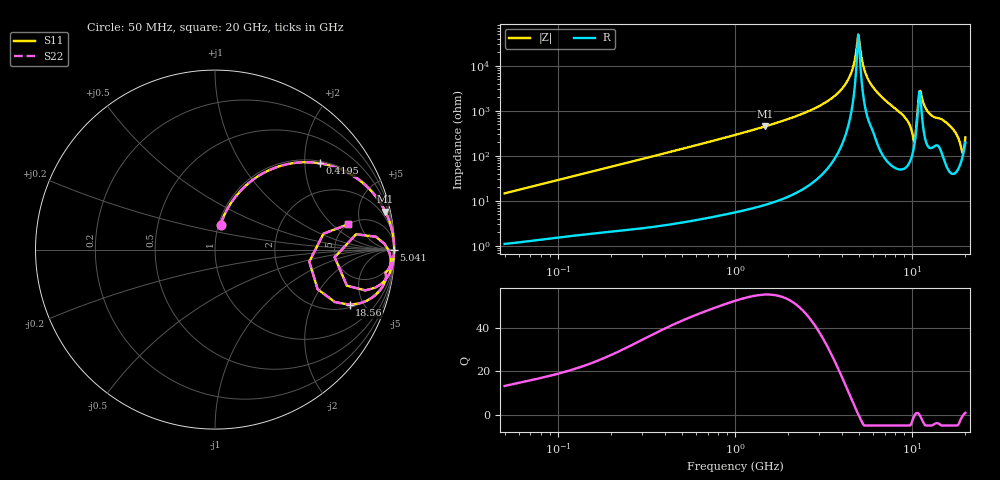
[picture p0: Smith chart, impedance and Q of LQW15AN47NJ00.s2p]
!Murata Part Number: LQW15AN47NJ00
!These Parameters are Measured in Series Mode Connection
!  o--[Z]--o
!Port1  Port2
!  o-------o
!Freq. Start=50[MHz] Stop=20[GHz], 401[Steps]
# Hz S RI R 50
!Freq.(Hz) S11(Real) S11(Imag) S21(Real) S21(Imag) S12(Real) S12(Imag) S22(Real) S22(Imag)
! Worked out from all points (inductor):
!   401 points, 50 MHz to 20 GHz, reference 50 ohm
!   read as one part in series: L = 46.2 nH near 51.52 MHz
!   highest Q = 55.5 at 1.476 GHz (marker M1), where L = 48.3 nH
!   self-resonance near 4.967 GHz
!   S11 on the Smith chart (normalised r, x): 50 MHz: 1.02, +0.29; 419.5 MHz: 1.06, +2.37; 5.041 GHz: open; 18.56 GHz: 2.19, -3.92; 20 GHz: 4.96, +3.26
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5e7  0.031 0.1397  0.969 -0.1397  0.969 -0.1397  0.031 0.1397
1.364002e8  0.1429 0.3282  0.8571 -0.3282  0.8571 -0.3282  0.1429 0.3282
3.721004e8  0.5251 0.4865  0.4749 -0.4865  0.4749 -0.4865  0.5251 0.4865
4.194704e8  0.583 0.4809  0.417 -0.4809  0.417 -0.4809  0.583 0.4809
1e9  0.8892 0.3045  0.1108 -0.3045  0.1108 -0.3045  0.8892 0.3045
1.476162e9  0.9491 0.2109  0.0509 -0.2109  0.0509 -0.2109  0.9491 0.2109
2.728004e9  0.9892 0.0926  0.0108 -0.0926  0.0108 -0.0926  0.9892 0.0926
4.087748e9  0.9973 0.0296  0.00274 -0.0296  0.00274 -0.0296  0.9973 0.0296
4.472136e9  0.9979 0.0162  0.00214 -0.0162  0.00214 -0.0162  0.9979 0.0162
4.89267e9  0.998 0.00259  0.00197 -0.00259  0.00197 -0.00259  0.998 0.00259
5.041459e9  0.998 -0.00199  0.00202 0.00199  0.00202 0.00199  0.998 -0.00199
5.352748e9  0.9977 -0.0113  0.00233 0.0113  0.00233 0.0113  0.9977 -0.0113
5.683258e9  0.9969 -0.0208  0.00307 0.0208  0.00307 0.0208  0.9969 -0.0208
7.442007e9  0.9919 -0.0691  0.00805 0.0691  0.00805 0.0691  0.9919 -0.0691
9.457416e9  0.9556 -0.16  0.0444 0.16  0.0444 0.16  0.9556 -0.16
1.019291e10  0.7347 -0.201  0.2653 0.201  0.2653 0.201  0.7347 -0.201
1.098561e10  0.964 0.00117  0.036 -0.00117  0.036 -0.00117  0.964 0.00117
1.131968e10  0.977 -0.041  0.023 0.041  0.023 0.041  0.977 -0.041
1.257102e10  0.9681 -0.1086  0.0319 0.1086  0.0319 0.1086  0.9681 -0.1086
1.670968e10  0.9287 -0.214  0.0713 0.214  0.0713 0.214  0.9287 -0.214
1.855685e10  0.75 -0.3072  0.25 0.3072  0.25 0.3072  0.75 -0.3072
2e10  0.7415 0.1412  0.2585 -0.1412  0.2585 -0.1412  0.7415 0.1412
